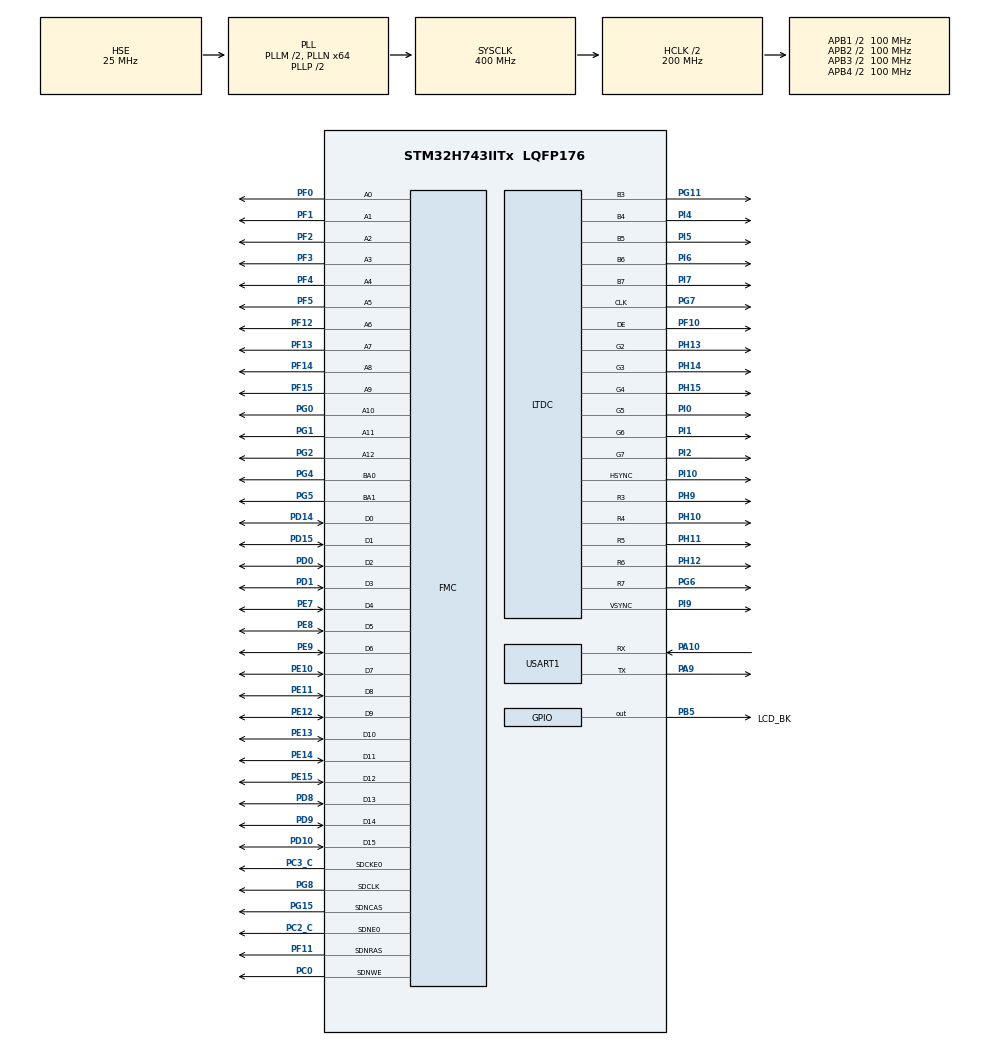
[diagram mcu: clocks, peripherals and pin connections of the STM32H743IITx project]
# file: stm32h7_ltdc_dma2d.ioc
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DMA2D.ColorMode=DMA2D_OUTPUT_RGB565
FMC.CASLatency1=FMC_SDRAM_CAS_LATENCY_3
FMC.ColumnBitsNumber1=FMC_SDRAM_COLUMN_BITS_NUM_9
FMC.ExitSelfRefreshDelay1=8
FMC.LoadToActiveDelay1=2
FMC.RCDDelay1=2
FMC.RPDelay1=2
FMC.ReadBurst1=FMC_SDRAM_RBURST_ENABLE
FMC.ReadPipeDelay1=FMC_SDRAM_RPIPE_DELAY_1
FMC.RowCycleDelay1=7
FMC.RowCycleDelay2=7
FMC.SDClockPeriod1=FMC_SDRAM_CLOCK_PERIOD_2
FMC.SelfRefreshTime1=6
FMC.WriteRecoveryTime1=5
LTDC.ActiveH=PIXELS_H
LTDC.ActiveW=PIXELS_W
LTDC.Alpha_L0=255
LTDC.Blue=0
LTDC.Blue_L0=0
LTDC.FBStartAdress_L0=0xc0000000
LTDC.Green=0
LTDC.HBP=140
LTDC.HFP=160
LTDC.HSync=20
LTDC.ImageHeight_L0=600
LTDC.ImageWidth_L0=1024
LTDC.Layers=0
LTDC.PixelFormat_L0=LTDC_PIXEL_FORMAT_RGB565
LTDC.Red=0
LTDC.VBP=20
LTDC.VFP=12
LTDC.VSync=3
LTDC.WindowX1_L0=PIXELS_W
LTDC.WindowY1_L0=PIXELS_H
Mcu.Family=STM32H7
Mcu.Name=STM32H743IITx
Mcu.Package=LQFP176
Mcu.UserConstants=PIXELS_DIR,1;PIXELS_H,600;PIXELS_W,1024;LTDC_BUFF_ADDR,0XC0000000
NVIC.DMA2D_IRQn=true\:0\:0\:false\:false\:true\:true\:true\:true
NVIC.PriorityGroup=NVIC_PRIORITYGROUP_4
NVIC.USART1_IRQn=true\:0\:0\:false\:false\:true\:true\:true\:true
PA10.Mode=Asynchronous
PA10.Signal=USART1_RX
PA9.Mode=Asynchronous
PA9.Signal=USART1_TX
PB5.GPIO_Label=LCD_BK
PB5.GPIO_PuPd=GPIO_PULLDOWN
PB5.Signal=GPIO_Output
PC0.Signal=FMC_SDNWE
PC14-OSC32_IN\ (OSC32_IN).Mode=LSE-External-Oscillator
PC14-OSC32_IN\ (OSC32_IN).Signal=RCC_OSC32_IN
PC15-OSC32_OUT\ (OSC32_OUT).Mode=LSE-External-Oscillator
PC15-OSC32_OUT\ (OSC32_OUT).Signal=RCC_OSC32_OUT
PC2_C.Mode=SdramChipSelect1_1
PC2_C.Signal=FMC_SDNE0
PC3_C.Mode=SdramChipSelect1_1
PC3_C.Signal=FMC_SDCKE0
PD0.Signal=FMC_D2_DA2
PD1.Signal=FMC_D3_DA3
PD10.Signal=FMC_D15_DA15
PD14.Signal=FMC_D0_DA0
PD15.Signal=FMC_D1_DA1
PD8.Signal=FMC_D13_DA13
PD9.Signal=FMC_D14_DA14
PE0.Signal=FMC_NBL0
PE1.Signal=FMC_NBL1
PE10.Signal=FMC_D7_DA7
PE11.Signal=FMC_D8_DA8
PE12.Signal=FMC_D9_DA9
PE13.Signal=FMC_D10_DA10
PE14.Signal=FMC_D11_DA11
PE15.Signal=FMC_D12_DA12
PE7.Signal=FMC_D4_DA4
PE8.Signal=FMC_D5_DA5
PE9.Signal=FMC_D6_DA6
PF0.Signal=FMC_A0
PF1.Signal=FMC_A1
PF10.GPIO_Speed=GPIO_SPEED_FREQ_VERY_HIGH
PF10.Mode=RGB565
PF10.Signal=LTDC_DE
PF11.Signal=FMC_SDNRAS
PF12.Signal=FMC_A6
PF13.Signal=FMC_A7
PF14.Signal=FMC_A8
PF15.Signal=FMC_A9
PF2.Signal=FMC_A2
PF3.Signal=FMC_A3
PF4.Signal=FMC_A4
PF5.Signal=FMC_A5
PG0.Signal=FMC_A10
PG1.Signal=FMC_A11
PG11.GPIO_Speed=GPIO_SPEED_FREQ_VERY_HIGH
PG11.Mode=RGB565
PG11.Signal=LTDC_B3
PG15.Signal=FMC_SDNCAS
PG2.Signal=FMC_A12
PG4.Signal=FMC_A14_BA0
PG5.Signal=FMC_A15_BA1
PG6.GPIO_Speed=GPIO_SPEED_FREQ_VERY_HIGH
PG6.Mode=RGB565
PG6.Signal=LTDC_R7
PG7.GPIO_Speed=GPIO_SPEED_FREQ_VERY_HIGH
PG7.Mode=RGB565
PG7.Signal=LTDC_CLK
PG8.Signal=FMC_SDCLK
PH0-OSC_IN\ (PH0).Mode=HSE-External-Oscillator
PH0-OSC_IN\ (PH0).Signal=RCC_OSC_IN
PH1-OSC_OUT\ (PH1).Mode=HSE-External-Oscillator
PH1-OSC_OUT\ (PH1).Signal=RCC_OSC_OUT
PH10.GPIO_Speed=GPIO_SPEED_FREQ_VERY_HIGH
PH10.Mode=RGB565
PH10.Signal=LTDC_R4
PH11.GPIO_Speed=GPIO_SPEED_FREQ_VERY_HIGH
PH11.Mode=RGB565
PH11.Signal=LTDC_R5
PH12.GPIO_Speed=GPIO_SPEED_FREQ_VERY_HIGH
PH12.Mode=RGB565
PH12.Signal=LTDC_R6
PH13.GPIO_Speed=GPIO_SPEED_FREQ_VERY_HIGH
PH13.Mode=RGB565
PH13.Signal=LTDC_G2
PH14.GPIO_Speed=GPIO_SPEED_FREQ_VERY_HIGH
PH14.Mode=RGB565
PH14.Signal=LTDC_G3
PH15.GPIO_Speed=GPIO_SPEED_FREQ_VERY_HIGH
PH15.Mode=RGB565
PH15.Signal=LTDC_G4
PH9.GPIO_Speed=GPIO_SPEED_FREQ_VERY_HIGH
PH9.Mode=RGB565
PH9.Signal=LTDC_R3
PI0.GPIO_Speed=GPIO_SPEED_FREQ_VERY_HIGH
PI0.Mode=RGB565
PI0.Signal=LTDC_G5
PI1.GPIO_Speed=GPIO_SPEED_FREQ_VERY_HIGH
PI1.Mode=RGB565
PI1.Signal=LTDC_G6
PI10.GPIO_Speed=GPIO_SPEED_FREQ_VERY_HIGH
PI10.Mode=RGB565
PI10.Signal=LTDC_HSYNC
PI2.GPIO_Speed=GPIO_SPEED_FREQ_VERY_HIGH
PI2.Mode=RGB565
PI2.Signal=LTDC_G7
PI4.GPIO_Speed=GPIO_SPEED_FREQ_VERY_HIGH
PI4.Mode=RGB565
PI4.Signal=LTDC_B4
PI5.GPIO_Speed=GPIO_SPEED_FREQ_VERY_HIGH
PI5.Mode=RGB565
PI5.Signal=LTDC_B5
PI6.GPIO_Speed=GPIO_SPEED_FREQ_VERY_HIGH
PI6.Mode=RGB565
PI6.Signal=LTDC_B6
PI7.GPIO_Speed=GPIO_SPEED_FREQ_VERY_HIGH
PI7.Mode=RGB565
PI7.Signal=LTDC_B7
PI9.GPIO_Speed=GPIO_SPEED_FREQ_VERY_HIGH
PI9.Mode=RGB565
PI9.Signal=LTDC_VSYNC
ProjectManager.HeapSize=0x200
ProjectManager.StackSize=0x400
ProjectManager.TargetToolchain=STM32CubeIDE
RCC.ADCFreq_Value=50390625
RCC.APB1Freq_Value=100000000
RCC.APB2Freq_Value=100000000
RCC.APB3Freq_Value=100000000
RCC.APB4Freq_Value=100000000
RCC.CKPERSourceSelection=RCC_CLKPSOURCE_HSE
RCC.CortexFreq_Value=400000000
RCC.D1PPRE=RCC_APB3_DIV2
RCC.D2PPRE1=RCC_APB1_DIV2
RCC.D2PPRE2=RCC_APB2_DIV2
RCC.D3PPRE=RCC_APB4_DIV2
RCC.DIVM1=2
RCC.DIVM3=1
RCC.DIVN1=64
RCC.DIVN3=9
RCC.DIVR3=5
RCC.HCLKFreq_Value=200000000
RCC.HPRE=RCC_HCLK_DIV2
RCC.LockedElements=D1CPREOutput,AHBOutput
RCC.PLL2FRACN=0
RCC.PLL3FRACN=0
RCC.PLLFRACN=0
RCC.PLLSourceVirtual=RCC_PLLSOURCE_HSE
RCC.PWR_Regulator_Voltage_Scale=PWR_REGULATOR_VOLTAGE_SCALE1
RCC.SYSCLKFreq_VALUE=400000000
RCC.SYSCLKSource=RCC_SYSCLKSOURCE_PLLCLK
RCC.USBFreq_Value=400000000
SH.FMC_A0.0=FMC_A0,13b-sda1
SH.FMC_A1.0=FMC_A1,13b-sda1
SH.FMC_A10.0=FMC_A10,13b-sda1
SH.FMC_A11.0=FMC_A11,13b-sda1
SH.FMC_A12.0=FMC_A12,13b-sda1
SH.FMC_A14_BA0.0=FMC_BA0,FourSdramBanks1
SH.FMC_A15_BA1.0=FMC_BA1,FourSdramBanks1
SH.FMC_A2.0=FMC_A2,13b-sda1
SH.FMC_A3.0=FMC_A3,13b-sda1
SH.FMC_A4.0=FMC_A4,13b-sda1
SH.FMC_A5.0=FMC_A5,13b-sda1
SH.FMC_A6.0=FMC_A6,13b-sda1
SH.FMC_A7.0=FMC_A7,13b-sda1
SH.FMC_A8.0=FMC_A8,13b-sda1
SH.FMC_A9.0=FMC_A9,13b-sda1
SH.FMC_D0_DA0.0=FMC_D0,sd-16b-d1
SH.FMC_D10_DA10.0=FMC_D10,sd-16b-d1
SH.FMC_D11_DA11.0=FMC_D11,sd-16b-d1
SH.FMC_D12_DA12.0=FMC_D12,sd-16b-d1
SH.FMC_D13_DA13.0=FMC_D13,sd-16b-d1
SH.FMC_D14_DA14.0=FMC_D14,sd-16b-d1
SH.FMC_D15_DA15.0=FMC_D15,sd-16b-d1
SH.FMC_D1_DA1.0=FMC_D1,sd-16b-d1
SH.FMC_D2_DA2.0=FMC_D2,sd-16b-d1
SH.FMC_D3_DA3.0=FMC_D3,sd-16b-d1
SH.FMC_D4_DA4.0=FMC_D4,sd-16b-d1
SH.FMC_D5_DA5.0=FMC_D5,sd-16b-d1
SH.FMC_D6_DA6.0=FMC_D6,sd-16b-d1
SH.FMC_D7_DA7.0=FMC_D7,sd-16b-d1
SH.FMC_D8_DA8.0=FMC_D8,sd-16b-d1
SH.FMC_D9_DA9.0=FMC_D9,sd-16b-d1
SH.FMC_NBL0.0=FMC_NBL0
SH.FMC_NBL1.0=FMC_NBL1
SH.FMC_SDCLK.0=FMC_SDCLK,13b-sda1
SH.FMC_SDNCAS.0=FMC_SDNCAS,13b-sda1
SH.FMC_SDNRAS.0=FMC_SDNRAS,13b-sda1
SH.FMC_SDNWE.0=FMC_SDNWE,13b-sda1
USART1.VirtualMode-Asynchronous=VM_ASYNC
VP_DMA2D_VS_DMA2D.Mode=DMA2D_Activate
board=custom

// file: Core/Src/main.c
/* USER CODE BEGIN Header */
/**
  ******************************************************************************
  * @file           : main.c
  * @brief          : Main program body
  ******************************************************************************
  * @attention
  *
  * Copyright (c) 2023 STMicroelectronics.
  * All rights reserved.
  *
  * This software is licensed under terms that can be found in the LICENSE file
  * in the root directory of this software component.
  * If no LICENSE file comes with this software, it is provided AS-IS.
  *
  ******************************************************************************
  */
/* USER CODE END Header */
#include "main.h"
#include "dma2d.h"
#include "ltdc.h"
#include "usart.h"
#include "gpio.h"
#include "fmc.h"

/* USER CODE BEGIN Includes */
#include <stdio.h>
#include "touch.h"
/* USER CODE END Includes */

/* USER CODE BEGIN PD */

void ctp_test(void)
{
    u8 t=0;
    u8 i=0;
    u16 lastpos[5][2];		//最后一次的数据
    while(1)
    {
        tp_dev.scan(0);
        for(t=0;t<5;t++)
        {
            if((tp_dev.sta)&(1<<t))
            {
                printf("X坐标:%d,Y坐标:%d\r\n",tp_dev.x[0],tp_dev.y[0]);
//                if(tp_dev.x[t]<PIXELS_W&&tp_dev.y[t]<PIXELS_H)
//                {
//                }
            }else lastpos[t][0]=0XFFFF;
        }

        i++;

    }
}

/* USER CODE END PD */

void SystemClock_Config(void);

int main(void)
{

  /* MCU Configuration--------------------------------------------------------*/

  /* Reset of all peripherals, Initializes the Flash interface and the Systick. */
  HAL_Init();

  /* Configure the system clock */
  SystemClock_Config();

  /* Initialize all configured peripherals */
  MX_GPIO_Init();
  MX_FMC_Init();
  MX_USART1_UART_Init();
  MX_DMA2D_Init();
  MX_LTDC_Init();
  /* USER CODE BEGIN 2 */
  SDRAM_InitSequence();
  LTDC_Init();
  tp_dev.init();

  LTDC_Fill(100,0,200,200,RED);//LTDC测试显示
  ctp_test();//触摸测试显示
  /* USER CODE END 2 */

  /* Infinite loop */
  while (1)
  {

  }
}

void SystemClock_Config(void)
{
  RCC_OscInitTypeDef RCC_OscInitStruct = {0};
  RCC_ClkInitTypeDef RCC_ClkInitStruct = {0};

  /** Supply configuration update enable
  */
  HAL_PWREx_ConfigSupply(PWR_LDO_SUPPLY);

  /** Configure the main internal regulator output voltage
  */
  __HAL_PWR_VOLTAGESCALING_CONFIG(PWR_REGULATOR_VOLTAGE_SCALE1);

  while(!__HAL_PWR_GET_FLAG(PWR_FLAG_VOSRDY)) {}

  /** Macro to configure the PLL clock source
  */
  __HAL_RCC_PLL_PLLSOURCE_CONFIG(RCC_PLLSOURCE_HSE);

  /** Initializes the RCC Oscillators according to the specified parameters
  * in the RCC_OscInitTypeDef structure.
  */
  RCC_OscInitStruct.OscillatorType = RCC_OSCILLATORTYPE_HSE;
  RCC_OscInitStruct.HSEState = RCC_HSE_ON;
  RCC_OscInitStruct.PLL.PLLState = RCC_PLL_ON;
  RCC_OscInitStruct.PLL.PLLSource = RCC_PLLSOURCE_HSE;
  RCC_OscInitStruct.PLL.PLLM = 2;
  RCC_OscInitStruct.PLL.PLLN = 64;
  RCC_OscInitStruct.PLL.PLLP = 2;
  RCC_OscInitStruct.PLL.PLLQ = 2;
  RCC_OscInitStruct.PLL.PLLR = 2;
  RCC_OscInitStruct.PLL.PLLRGE = RCC_PLL1VCIRANGE_3;
  RCC_OscInitStruct.PLL.PLLVCOSEL = RCC_PLL1VCOWIDE;
  RCC_OscInitStruct.PLL.PLLFRACN = 0;
  if (HAL_RCC_OscConfig(&RCC_OscInitStruct) != HAL_OK)
  {
    Error_Handler();
  }

  /** Initializes the CPU, AHB and APB buses clocks
  */
  RCC_ClkInitStruct.ClockType = RCC_CLOCKTYPE_HCLK|RCC_CLOCKTYPE_SYSCLK
                              |RCC_CLOCKTYPE_PCLK1|RCC_CLOCKTYPE_PCLK2
                              |RCC_CLOCKTYPE_D3PCLK1|RCC_CLOCKTYPE_D1PCLK1;
  RCC_ClkInitStruct.SYSCLKSource = RCC_SYSCLKSOURCE_PLLCLK;
  RCC_ClkInitStruct.SYSCLKDivider = RCC_SYSCLK_DIV1;
  RCC_ClkInitStruct.AHBCLKDivider = RCC_HCLK_DIV2;
  RCC_ClkInitStruct.APB3CLKDivider = RCC_APB3_DIV2;
  RCC_ClkInitStruct.APB1CLKDivider = RCC_APB1_DIV2;
  RCC_ClkInitStruct.APB2CLKDivider = RCC_APB2_DIV2;
  RCC_ClkInitStruct.APB4CLKDivider = RCC_APB4_DIV2;

  if (HAL_RCC_ClockConfig(&RCC_ClkInitStruct, FLASH_LATENCY_2) != HAL_OK)
  {
    Error_Handler();
  }
}

void Error_Handler(void)
{
  __disable_irq();
  while (1)
  {
  }
}
